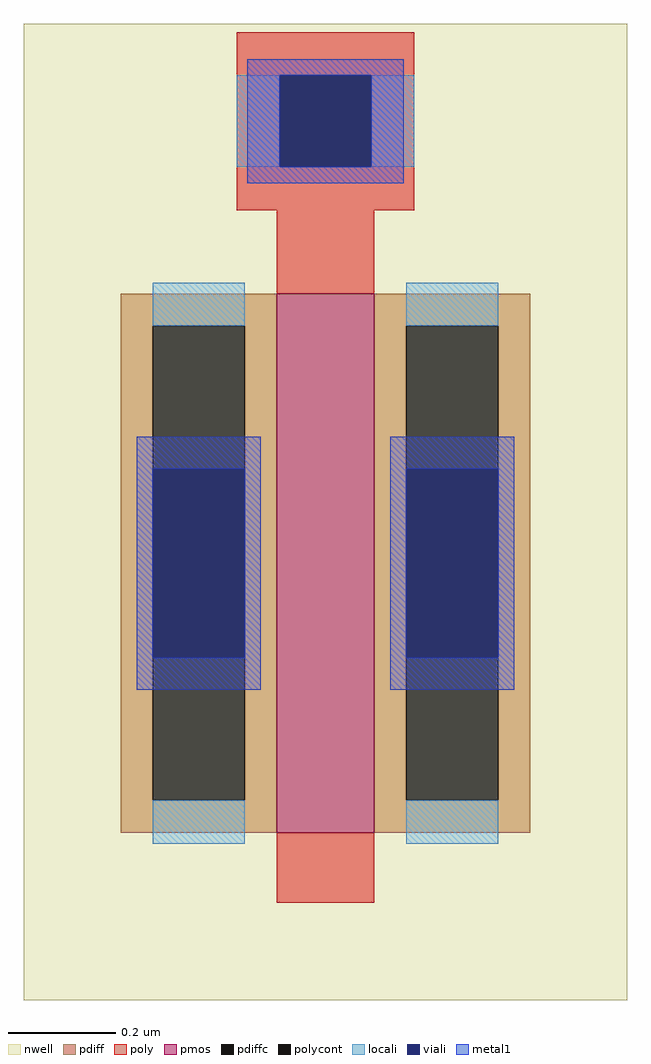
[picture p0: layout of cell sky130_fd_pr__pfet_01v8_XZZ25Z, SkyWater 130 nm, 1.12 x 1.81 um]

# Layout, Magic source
magic
tech sky130A
magscale 1 2
<< nwell >>
rect -112 -198 112 164
<< pmos >>
rect -18 -136 18 64
<< pdiff >>
rect -76 52 -18 64
rect -76 -124 -64 52
rect -30 -124 -18 52
rect -76 -136 -18 -124
rect 18 52 76 64
rect 18 -124 30 52
rect 64 -124 76 52
rect 18 -136 76 -124
<< pdiffc >>
rect -64 -124 -30 52
rect 30 -124 64 52
<< poly >>
rect -33 145 33 161
rect -33 111 -17 145
rect 17 111 33 145
rect -33 95 33 111
rect -18 64 18 95
rect -18 -162 18 -136
<< polycont >>
rect -17 111 17 145
<< locali >>
rect -33 111 -17 145
rect 17 111 33 145
rect -64 52 -30 68
rect -64 -140 -30 -124
rect 30 52 64 68
rect 30 -140 64 -124
<< viali >>
rect -17 111 17 145
rect -64 -71 -30 -1
rect 30 -71 64 -1
<< metal1 >>
rect -29 145 29 151
rect -29 111 -17 145
rect 17 111 29 145
rect -29 105 29 111
rect -70 -1 -24 11
rect -70 -71 -64 -1
rect -30 -71 -24 -1
rect -70 -83 -24 -71
rect 24 -1 70 11
rect 24 -71 30 -1
rect 64 -71 70 -1
rect 24 -83 70 -71
<< properties >>
string gencell sky130_fd_pr__pfet_01v8
string library sky130
string parameters w 1 l 0.18 m 1 nf 1 diffcov 100 polycov 100 guard 0 glc 0 grc 0 gtc 1 gbc 1 tbcov 100 rlcov 100 topc 1 botc 0 poverlap 0 doverlap 1 lmin 0.15 wmin 0.42 compatible {sky130_fd_pr__pfet_01v8  sky130_fd_pr__pfet_01v8_lvt sky130_fd_pr__pfet_01v8_hvt  sky130_fd_pr__pfet_g5v0d10v5} full_metal 0 viasrc 40 viadrn 40 viagate 100 viagb 0 viagr 0 viagl 0 viagt 80
<< end >>
